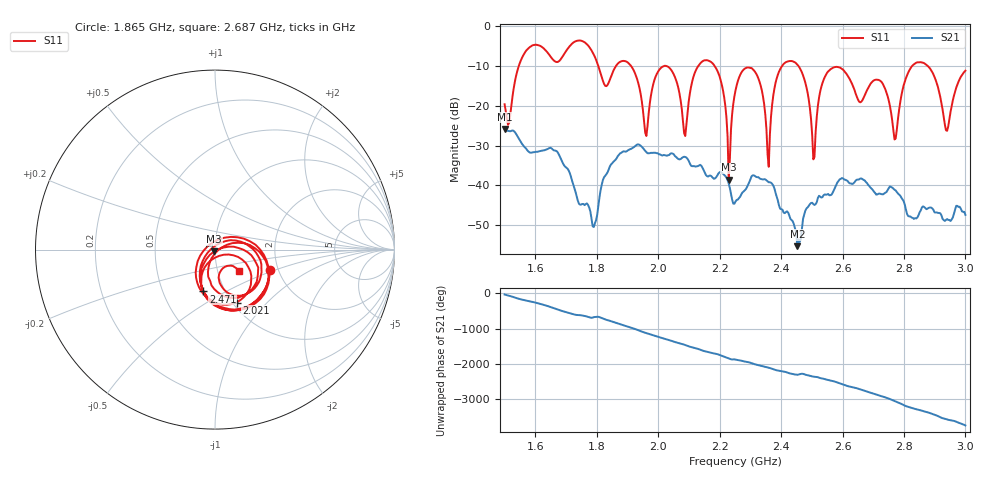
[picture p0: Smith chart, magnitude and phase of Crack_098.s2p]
# HZ S RI R 50
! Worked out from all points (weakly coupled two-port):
!   404 points, 1.5 GHz to 3 GHz, reference 50 ohm
!   highest |S21| = -25.81 dB at 1.5 GHz (marker M1); lowest = -55.2 dB at 2.453 GHz (marker M2)
!   lowest |S11| = -38.5 dB at 2.23 GHz (marker M3), VSWR 1.02, Z = 49.5 - j1.05 ohm
!   |S11| at or under -10 dB: 2.184 GHz to 2.403 GHz (219.5 MHz wide, 9.57 % of centre); 2.457 GHz to 2.827 GHz (369.9 MHz wide, 14 % of centre); 2.878 GHz to end of sweep (the widest 3 of 7)
!   S12 and S22 are empty: the file has one direction only
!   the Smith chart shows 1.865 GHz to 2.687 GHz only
!   S11 on the Smith chart (normalised r, x): 1.865 GHz: 1.80, -0.46; 2.021 GHz: 1.04, -0.69; 2.471 GHz: 0.79, -0.39; 2.687 GHz: 1.26, -0.32
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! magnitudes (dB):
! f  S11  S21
! 1.5 GHz  -19.6  -25.8
! 1.753 GHz  -3.7  -44.6
! 1.865 GHz  -9.7  -33.1
! 1.962 GHz  -27.6  -31.6
! 2.002 GHz  -11.1  -32.2
! 2.021 GHz  -9.9  -32.4
! 2.088 GHz  -27.6  -32.8
! 2.181 GHz  -9.7  -38.3
! 2.23 GHz  -38.5  -39.5
! 2.252 GHz  -16.1  -44.0
! 2.315 GHz  -11.5  -37.6
! 2.36 GHz  -35.3  -39.2
! 2.393 GHz  -11.4  -45.0
! 2.453 GHz  -9.6  -55.2
! 2.471 GHz  -12.3  -48.4
! 2.501 GHz  -27.3  -44.3
! 2.561 GHz  -10.8  -42.4
! 2.687 GHz  -14.9  -40.2
! 2.751 GHz  -18.7  -40.7
! 2.862 GHz  -9.2  -45.2
! 2.94 GHz  -26.3  -48.4
! 3 GHz  -11.2  -47.4
